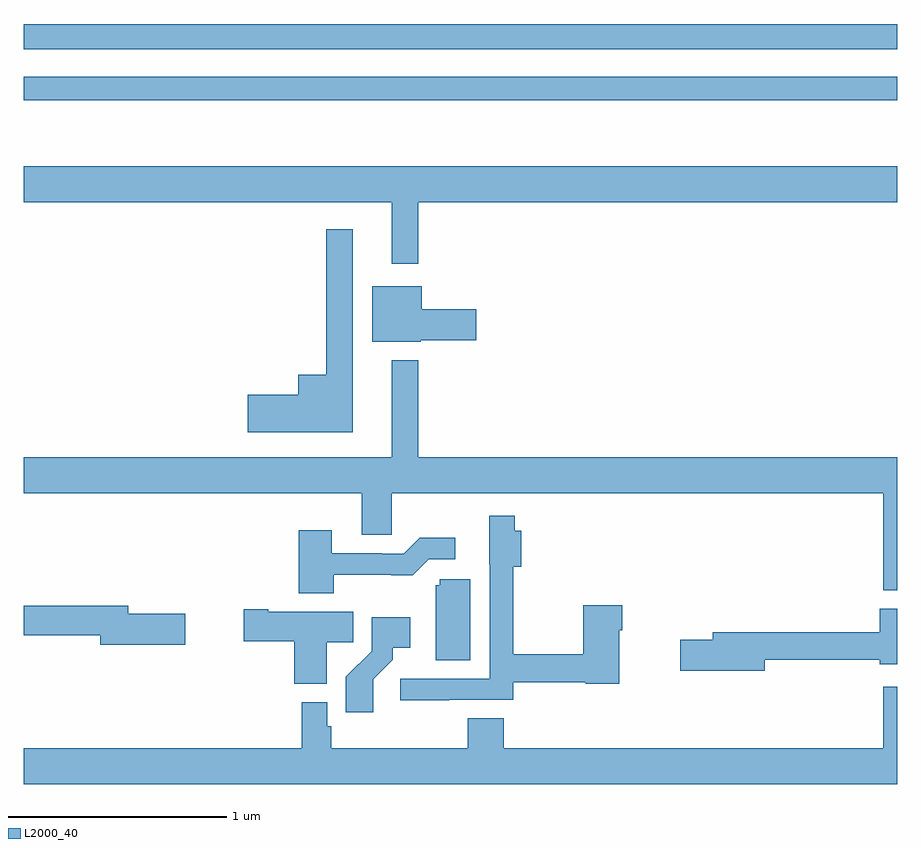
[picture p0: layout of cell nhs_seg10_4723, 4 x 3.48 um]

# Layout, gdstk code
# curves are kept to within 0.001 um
import gdstk
lib = gdstk.Library(unit=1e-6, precision=1e-09)
def R(c, l, rs):  # rectangles x0, y0, x1, y1
    for r in rs: c.add(gdstk.rectangle(r[:2], r[2:], *l))
def P(c, l, *ps):  # polygons
    for p in ps: c.add(gdstk.Polygon(p, *l))
L2000_40 = (2000, 40)

nhs_seg10_4723 = lib.new_cell('nhs_seg10_4723')
R(nhs_seg10_4723, L2000_40, [(381,1318.098,385,1318.206), (381,1318.332,385,1318.448)])
P(nhs_seg10_4723, L2000_40, [(382.807,1317.632),(385,1317.632),(385,1317.796),(381,1317.796),(381,1317.632),(382.685,1317.632),(382.685,1317.351),(382.807,1317.351)],
  [(382.507,1317.508),(382.386,1317.508),(382.386,1316.842),(382.256,1316.842),(382.256,1316.75),(382.026,1316.75),(382.026,1316.579),(382.507,1316.579)],
  [(382.818,1316.999),(383.071,1316.999),(383.071,1317.141),(382.822,1317.141),(382.822,1317.247),(382.595,1317.247),(382.595,1316.993),(382.818,1316.993)],
  [(385,1316.464),(382.807,1316.464),(382.807,1316.908),(382.685,1316.908),(382.685,1316.464),(381,1316.464),(381,1316.3),(382.547,1316.3),(382.547,1316.11),(382.686,1316.11),(382.686,1316.3),(384.936,1316.3),(384.936,1315.856),(385,1315.856)],
  [(382.949,1315.353),(383.242,1315.353),(383.242,1315.434),(383.574,1315.434),(383.574,1315.426),(383.728,1315.426),(383.728,1315.673),(383.741,1315.673),(383.741,1315.786),(383.563,1315.786),(383.563,1315.562),(383.242,1315.562),(383.242,1315.963),(383.279,1315.963),(383.279,1316.128),(383.249,1316.128),(383.249,1316.197),(383.132,1316.197),(383.132,1315.974),(383.133,1315.974),(383.133,1315.449),(382.725,1315.449),(382.725,1315.351),(382.949,1315.351)],
  [(382.419,1315.926),(382.781,1315.925),(382.854,1315.998),(382.975,1315.998),(382.975,1316.095),(382.813,1316.095),(382.74,1316.022),(382.64,1316.022),(382.64,1316.025),(382.411,1316.025),(382.411,1316.131),(382.259,1316.131),(382.259,1315.841),(382.419,1315.841)],
  [(383.044,1315.905),(382.905,1315.905),(382.905,1315.878),(382.886,1315.878),(382.886,1315.534),(383.044,1315.534)],
  [(381.739,1315.748),(381.478,1315.748),(381.478,1315.784),(381,1315.784),(381,1315.648),(381.35,1315.648),(381.35,1315.606),(381.739,1315.606)],
  [(384.394,1315.536),(384.92,1315.536),(384.92,1315.517),(385,1315.517),(385,1315.771),(384.92,1315.771),(384.92,1315.664),(384.155,1315.664),(384.155,1315.628),(384.006,1315.628),(384.006,1315.486),(384.394,1315.486)],
  [(382.387,1315.618),(382.508,1315.618),(382.508,1315.756),(382.12,1315.756),(382.12,1315.769),(382.008,1315.769),(382.008,1315.622),(382.238,1315.622),(382.238,1315.427),(382.387,1315.427)],
  [(382.6,1315.447),(382.69,1315.537),(382.69,1315.592),(382.771,1315.592),(382.771,1315.732),(382.593,1315.732),(382.593,1315.577),(382.474,1315.458),(382.474,1315.296),(382.6,1315.296)],
  [(385,1315.414),(384.936,1315.414),(384.936,1315.132),(383.198,1315.132),(383.198,1315.268),(383.033,1315.268),(383.033,1315.132),(382.409,1315.132),(382.409,1315.233),(382.389,1315.233),(382.389,1315.342),(382.273,1315.342),(382.273,1315.132),(381,1315.132),(381,1314.968),(385,1314.968)])

lib.write_gds('nhs_seg10_4723.gds')
